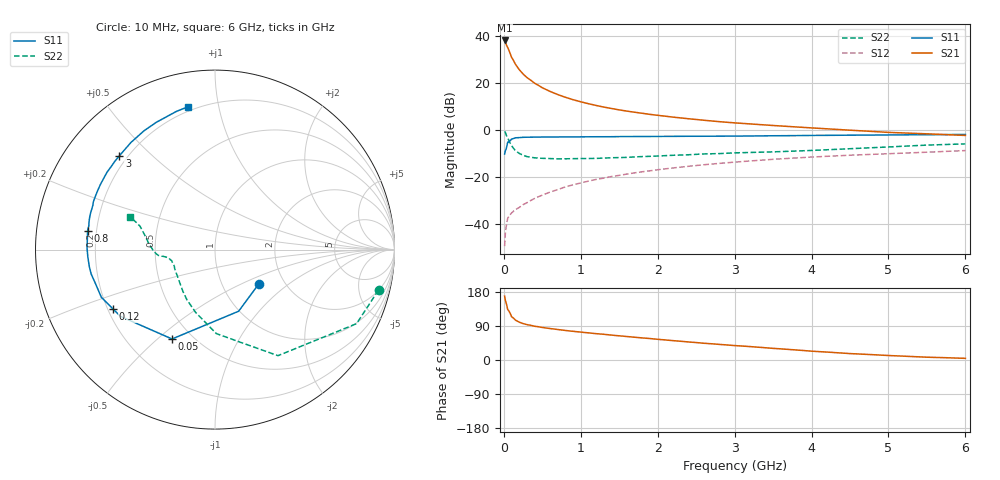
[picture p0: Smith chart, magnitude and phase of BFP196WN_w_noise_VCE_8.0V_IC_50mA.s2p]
! Infineon Technologies  Discrete & RF Semiconductors
! BFP196WN
! VCE =  8.0 V,  IC =  50 mA
! Common Emitter S-Parameters:  Jan 2017
# GHz  S  MA  R  50
!  f  S11  S21  S12  S22
! GHz  MAG  ANG  MAG  ANG  MAG  ANG  MAG  ANG
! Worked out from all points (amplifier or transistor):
!   77 points, 10 MHz to 6 GHz, reference 50 ohm
!   highest |S21| = 38.1 dB at 10 MHz (marker M1)
!   |S21| within 3 dB of that: start of sweep to 49.83 MHz
!   unconditionally stable (mu >= 1): 652.2 MHz to 2.648 GHz
!   at 130 MHz: K = 0.52, MSG = 31.8 dB, |S12| = -34.3 dB
!   at 2.2 GHz: K = 1.02, MAG = 10.0 dB, |S12| = -16.1 dB
!   at 6 GHz: K = 0.90, MSG = 3.2 dB, |S12| = -8.7 dB
!   lowest NFmin = 1.27 dB at 450 MHz
!   S11 on the Smith chart (normalised r, x): 10 MHz: 1.48, -0.63; 50 MHz: 0.39, -0.56; 120 MHz: 0.22, -0.26; 800 MHz: 0.17, +0.07; 3 GHz: 0.17, +0.40; 6 GHz: 0.18, +0.81
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0.01  0.3101 -38.2  80.73 168.6  0.0034 79.2  0.9385 -13.9
0.02  0.3677 -69.0  74.26 157.2  0.0065 71.4  0.8903 -27.6
0.05  0.5525 -115.7  57.08 133.3  0.0133 52.8  0.6874 -59.3
0.1  0.6451 -144.8  35.57 114.3  0.0173 49.0  0.468 -89.1
0.12  0.6579 -149.9  31.37 111.4  0.0185 48.6  0.4226 -95.3
0.15  0.6866 -157.2  25.27 105.3  0.0204 48.1  0.3664 -107.1
0.2  0.6925 -164.2  19.33 99.9  0.0226 52.3  0.3197 -119.4
0.25  0.703 -168.8  15.65 96.2  0.0259 54.5  0.2927 -127.8
0.3  0.7066 -172.2  13.12 93.4  0.0286 56.3  0.2734 -134.9
0.4  0.71 -177.1  9.936 89.1  0.0352 60.8  0.2575 -143.8
0.5  0.7129 179.3  7.97 85.9  0.0414 63.8  0.2514 -150.2
0.6  0.713 176.4  6.66 83.0  0.048 65.2  0.2481 -154.9
0.7  0.7147 174.0  5.706 80.5  0.0543 66.4  0.2448 -157.9
0.8  0.7174 171.5  4.995 77.9  0.062 67.8  0.2455 -160.0
1.1  0.7211 165.5  3.643 71.6  0.0823 68.2  0.2489 -165.3
1.5  0.728 158.6  2.692 63.8  0.1091 66.9  0.2603 -169.2
2.1  0.735 149.0  1.976 52.9  0.1501 63.5  0.2864 -172.2
3  0.7462 135.5  1.426 38.1  0.2084 56.8  0.3283 -175.9
3.1  0.7477 134.0  1.39 36.8  0.2145 55.9  0.3314 -176.6
4.1  0.7722 119.7  1.09 22.1  0.2722 47.7  0.3755 173.5
5.1  0.7906 108.8  0.882 11.0  0.3196 40.2  0.4464 162.1
6  0.8091 100.9  0.77 4.4  0.3673 34.2  0.5091 159.2
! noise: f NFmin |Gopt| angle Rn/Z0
0.45  1.27  0.53  -177  0.05
0.9  1.39  0.56  -171  0.05
1.9  2.33  0.69  -148  0.16
2.4  3.05  0.7  -140  0.28
